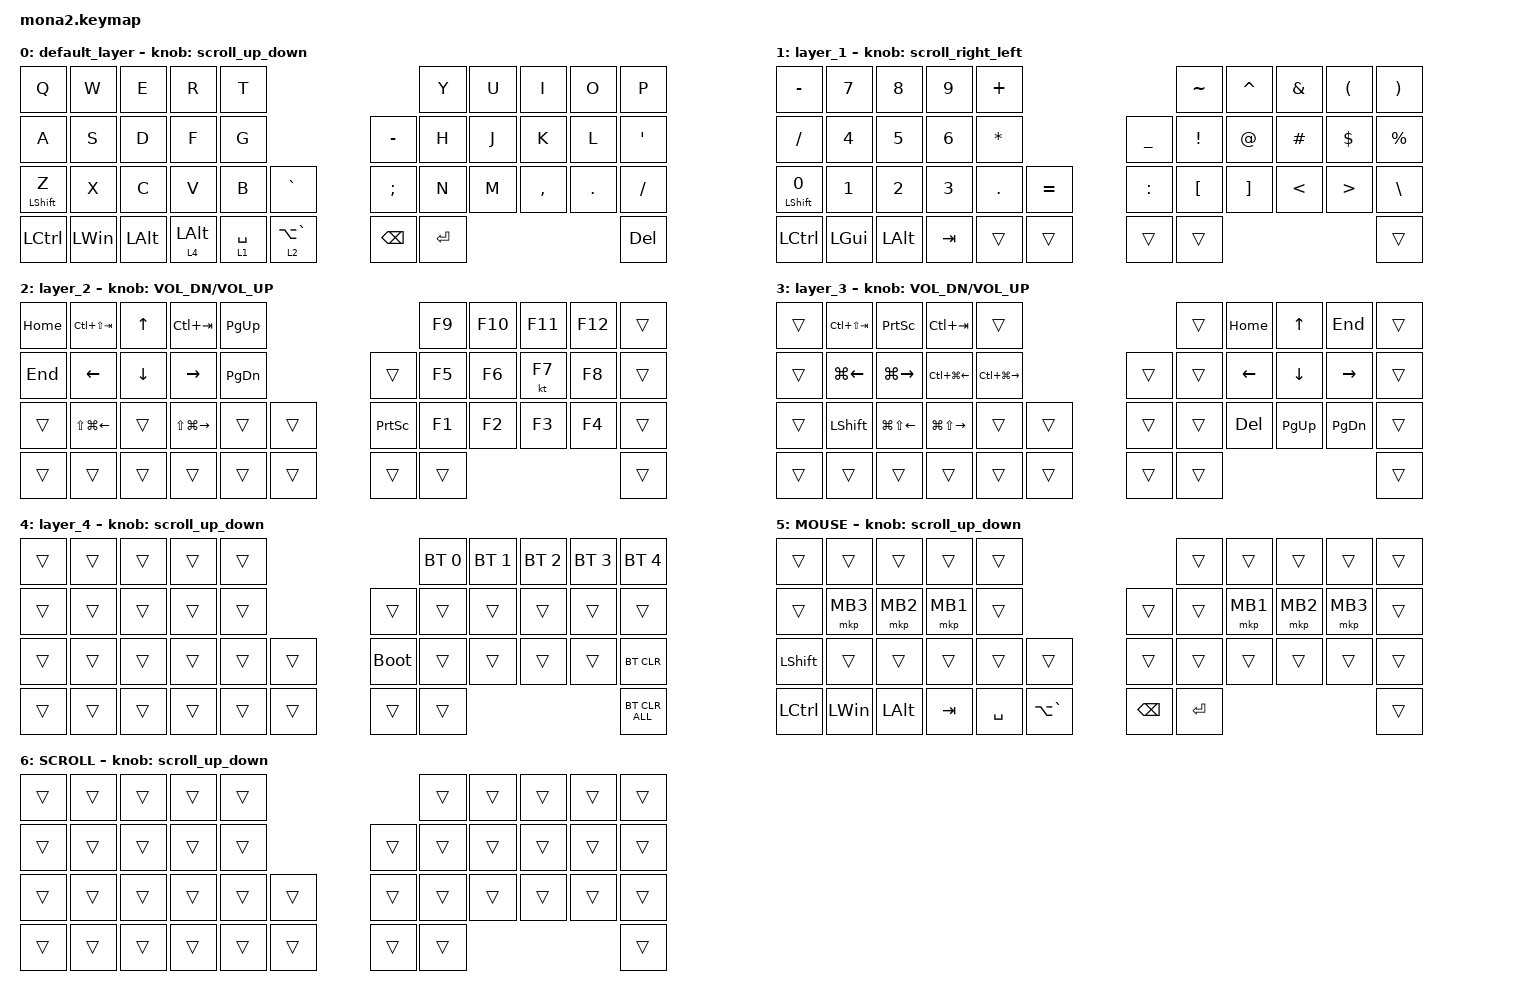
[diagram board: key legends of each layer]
#include <input/processors.dtsi>
#include <dt-bindings/zmk/input_transform.h>
#include <zephyr/dt-bindings/input/input-event-codes.h>
#include <behaviors.dtsi>
#include <dt-bindings/zmk/bt.h>
#include <dt-bindings/zmk/keys.h>
#include <dt-bindings/zmk/pointing.h>

#define ZMK_POINTING_DEFAULT_SCRL_VAL 100
#define MOUSE 5
#define SCROLL 6

&mt {
    flavor = "balanced";
    quick-tap-ms = <0>;
};

&lt {
    quick-tap-ms = <300>;
    flavor = "balanced";
};

/ {
    combos {
        compatible = "zmk,combos";

        double_quotation {
            bindings = <&kp DOUBLE_QUOTES>;
            key-positions = <19 20>;
        };
    };

    macros {
        to_layer_0: to_layer_0 {
            compatible = "zmk,behavior-macro-one-param";
            #binding-cells = <1>;
            bindings = <&to 0 &macro_param_1to1 &kp MACRO_PLACEHOLDER>;
            label = "TO_LAYER_0";
        };
    };

    behaviors {
        lt_to_layer_0: lt_to_layer_0 {
            compatible = "zmk,behavior-hold-tap";
            label = "LAYER_TAP_TO_0";
            bindings = <&mo>, <&to_layer_0>;

            #binding-cells = <2>;
            tapping-term-ms = <200>;
        };

        scroll_up_down: mouse_wheel_up_down {
            compatible = "zmk,behavior-sensor-rotate";
            #sensor-binding-cells = <0>;
            bindings = <&msc SCRL_DOWN>, <&msc SCRL_UP>;

            tap-ms = <20>;
        };

        scroll_right_left: mouse_wheel_right_left {
            compatible = "zmk,behavior-sensor-rotate";
            #sensor-binding-cells = <0>;
            bindings = <&msc SCRL_LEFT>, <&msc SCRL_RIGHT>;

            tap-ms = <20>;
        };
    };

    keymap {
        compatible = "zmk,keymap";

        default_layer {
            bindings = <
&kp Q             &kp W         &kp E         &kp R                      &kp T                                                     &kp Y      &kp U  &kp I      &kp O    &kp P
&kp A             &kp S         &kp D         &kp F                      &kp G                                      &kp MINUS      &kp H      &kp J  &kp K      &kp L    &kp SQT
&mt LEFT_SHIFT Z  &kp X         &kp C         &kp V                      &kp B        &kp GRAVE                     &kp SEMICOLON  &kp N      &kp M  &kp COMMA  &kp DOT  &kp SLASH
&kp LCTRL         &kp LEFT_WIN  &kp LEFT_ALT  &lt_to_layer_0 4 LEFT_ALT  &lt 1 SPACE  &lt_to_layer_0 2 LA(GRAVE)    &kp BACKSPACE  &kp ENTER                             &kp DEL
            >;

            sensor-bindings = <&scroll_up_down>;
        };

        layer_1 {
            bindings = <
&kp MINUS                &kp NUMBER_7  &kp NUMBER_8  &kp NUMBER_9  &kp PLUS                              &kp TILDE         &kp CARET          &kp AMPS  &kp LPAR  &kp RPAR
&kp SLASH                &kp NUMBER_4  &kp NUMBER_5  &kp NUMBER_6  &kp ASTERISK               &kp UNDER  &kp EXCL          &kp AT             &kp HASH  &kp DLLR  &kp PRCNT
&mt LEFT_SHIFT NUMBER_0  &kp NUMBER_1  &kp NUMBER_2  &kp NUMBER_3  &kp PERIOD    &kp EQUAL    &kp COLON  &kp LEFT_BRACKET  &kp RIGHT_BRACKET  &kp LT    &kp GT    &kp BACKSLASH
&kp LCTRL                &kp LEFT_GUI  &kp LEFT_ALT  &kp TAB       &trans        &trans       &trans     &trans                                                   &trans
            >;

            sensor-bindings = <&scroll_right_left>;
        };

        layer_2 {
            bindings = <
&kp HOME  &kp LC(LS(TAB))         &kp UP_ARROW    &kp LC(TAB)              &kp PAGE_UP                               &kp F9  &kp F10  &kp F11  &kp F12  &trans
&kp END   &kp LEFT_ARROW          &kp DOWN_ARROW  &kp RIGHT_ARROW          &kp PAGE_DOWN            &trans           &kp F5  &kp F6   &kt F7   &kp F8   &trans
&trans    &kp LS(LG(LEFT_ARROW))  &trans          &kp LS(LG(RIGHT_ARROW))  &trans         &trans    &kp PRINTSCREEN  &kp F1  &kp F2   &kp F3   &kp F4   &trans
&trans    &trans                  &trans          &trans                   &trans         &trans    &trans           &trans                             &trans
            >;

            sensor-bindings = <&inc_dec_kp C_VOL_DN C_VOL_UP>;
        };

        layer_3 {
            bindings = <
&trans  &kp LC(LS(TAB))     &kp PRINTSCREEN         &kp LC(TAB)              &trans                                     &trans  &kp HOME        &kp UP_ARROW    &kp END          &trans
&trans  &kp LG(LEFT_ARROW)  &kp LG(RIGHT_ARROW)     &kp LC(LG(LEFT_ARROW))   &kp LC(LG(RIGHT_ARROW))            &trans  &trans  &kp LEFT_ARROW  &kp DOWN_ARROW  &kp RIGHT_ARROW  &trans
&trans  &kp LEFT_SHIFT      &kp LG(LS(LEFT_ARROW))  &kp LG(LS(RIGHT_ARROW))  &trans                   &trans    &trans  &trans  &kp DELETE      &kp PAGE_UP     &kp PAGE_DOWN    &trans
&trans  &trans              &trans                  &trans                   &trans                   &trans    &trans  &trans                                                   &trans
            >;

            sensor-bindings = <&inc_dec_kp C_VOL_DN C_VOL_UP>;
        };

        layer_4 {
            bindings = <
&trans  &trans  &trans  &trans  &trans                         &bt BT_SEL 0  &bt BT_SEL 1  &bt BT_SEL 2  &bt BT_SEL 3  &bt BT_SEL 4
&trans  &trans  &trans  &trans  &trans            &trans       &trans        &trans        &trans        &trans        &trans
&trans  &trans  &trans  &trans  &trans  &trans    &bootloader  &trans        &trans        &trans        &trans        &bt BT_CLR
&trans  &trans  &trans  &trans  &trans  &trans    &trans       &trans                                                  &bt BT_CLR_ALL
            >;

            sensor-bindings = <&scroll_up_down>;
        };

        MOUSE {
            bindings = <
&trans          &trans        &trans        &trans    &trans                                     &trans     &trans    &trans    &trans    &trans
&trans          &mkp MB3      &mkp MB2      &mkp MB1  &trans                      &trans         &trans     &mkp MB1  &mkp MB2  &mkp MB3  &trans
&kp LEFT_SHIFT  &trans        &trans        &trans    &trans     &trans           &trans         &trans     &trans    &trans    &trans    &trans
&kp LCTRL       &kp LEFT_WIN  &kp LEFT_ALT  &kp TAB   &kp SPACE  &kp LA(GRAVE)    &kp BACKSPACE  &kp ENTER                                &trans
            >;

            sensor-bindings = <&scroll_up_down>;
        };

        SCROLL {
            bindings = <
&trans  &trans  &trans  &trans  &trans                    &trans  &trans  &trans  &trans  &trans
&trans  &trans  &trans  &trans  &trans            &trans  &trans  &trans  &trans  &trans  &trans
&trans  &trans  &trans  &trans  &trans  &trans    &trans  &trans  &trans  &trans  &trans  &trans
&trans  &trans  &trans  &trans  &trans  &trans    &trans  &trans                          &trans
            >;

            sensor-bindings = <&scroll_up_down>;
        };
    };
};
